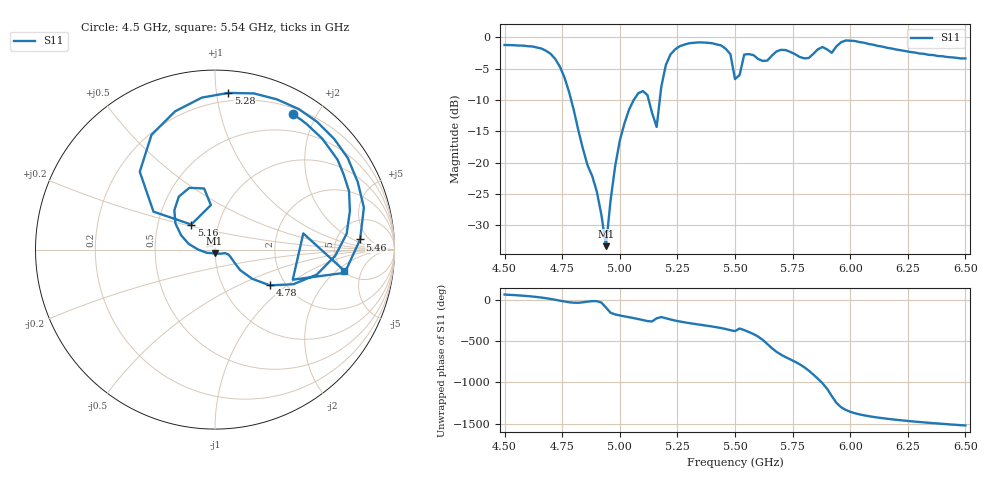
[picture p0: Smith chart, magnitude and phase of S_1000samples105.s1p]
! TOUCHSTONE file generated by CST MICROWAVE STUDIO
! Date and time: Thu Oct 27 00:28:14 2022
! Project name: L.cst
! Parameters = {Di=1.27; Epsilon_r=1.56; InnerDiameter=1.27; Length=2; Lf=10; Lg=60; OuterConductorThickness=0.2921; OuterDiameter=3.6; Wf=3; Wp=41.2; de=1.5; df=6.8; g=0.8; gx=4.09019; gy=0.767153; h=2.34; hf=1.524; px=11.9262; py=14.4367; w=9.7; wx=7.836; wy=13.6696}
! Header version: 2018
! Port assignment regex: !\s*Touchstone port\s*([0-9]+)\s*=\s*(CST MWS port|CST DS port)\s*([0-9]+|Zmin|Zmax)\s*\(\"(.*)\"\)(\s*mode\s*([0-9]+))?.*
! Touchstone port assignment:
! Touchstone port 1 = CST MWS port 1 ("")
# GHz S DB R 50
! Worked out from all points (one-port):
!   101 points, 4.5 GHz to 6.5 GHz, reference 50 ohm
!   lowest |S11| = -33.4 dB at 4.94 GHz (marker M1), VSWR 1.04, Z = 49.7 - j2.12 ohm
!   |S11| at or under -10 dB: 4.789 GHz to 5.06 GHz (271.5 MHz wide, 5.51 % of centre); 5.125 GHz to 5.173 GHz (47.98 MHz wide, 0.932 % of centre)
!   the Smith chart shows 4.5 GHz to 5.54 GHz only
!   S11 on the Smith chart (normalised r, x): 4.5 GHz: 0.27, +1.70; 4.78 GHz: 1.66, -0.76; 5.16 GHz: 0.74, +0.21; 5.28 GHz: 0.14, +1.08; 5.46 GHz: 8.61, +2.84; 5.54 GHz: 5.08, -2.53
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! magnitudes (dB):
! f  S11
! 4.5 GHz  -1.2
! 4.68 GHz  -2.1
! 4.76 GHz  -6.4
! 4.78 GHz  -8.7
! 4.86 GHz  -20.4
! 4.9 GHz  -24.6
! 4.94 GHz  -33.4
! 4.96 GHz  -26.0
! 5 GHz  -16.5
! 5.04 GHz  -11.5
! 5.1 GHz  -8.6
! 5.12 GHz  -9.2
! 5.16 GHz  -14.3
! 5.18 GHz  -7.9
! 5.2 GHz  -4.4
! 5.26 GHz  -1.4
! 5.28 GHz  -1.1
! 5.46 GHz  -1.8
! 5.48 GHz  -2.7
! 5.5 GHz  -6.7
! 5.52 GHz  -6.0
! 5.54 GHz  -2.7
! 5.62 GHz  -3.8
! 5.76 GHz  -2.7
! 5.92 GHz  -2.5
! 6 GHz  -0.5
! 6.26 GHz  -2.3
! 6.5 GHz  -3.4
